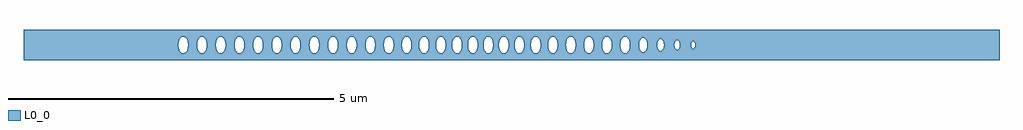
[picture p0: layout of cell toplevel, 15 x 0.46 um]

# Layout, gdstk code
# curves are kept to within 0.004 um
import gdstk
lib = gdstk.Library(unit=1e-6, precision=1e-09)
def P(c, l, *ps):  # polygons
    for p in ps: c.add(gdstk.Polygon(p, *l))
L0_0 = (0, 0)

toplevel = lib.new_cell('toplevel')
P(toplevel, L0_0, [(-4.442,-0.231),(-4.442,-0.121),(-4.46,-0.129),(-4.479,-0.129),(-4.513,-0.106),(-4.532,-0.07),(-4.543,-0.016),(-4.54,0.04),(-4.517,0.101),(-4.483,0.128),(-4.465,0.13),(-4.442,0.121),(-4.442,0.231),(-7.5,0.231),(-7.5,-0.008),(-5.119,-0.008),(-5.114,0.048),(-5.096,0.095),(-5.068,0.124),(-5.049,0.13),(-5.022,0.124),(-4.994,0.095),(-4.974,0.04),(-4.971,-0.016),(-4.831,-0.016),(-4.828,0.04),(-4.817,0.077),(-4.789,0.118),(-4.762,0.13),(-4.734,0.124),(-4.706,0.095),(-4.69,0.056),(-4.683,0.008),(-4.685,-0.032),(-4.697,-0.077),(-4.721,-0.114),(-4.752,-0.13),(-4.776,-0.126),(-4.801,-0.106),(-4.82,-0.07),(-4.831,-0.016),(-4.971,-0.016),(-4.982,-0.07),(-5.001,-0.106),(-5.022,-0.124),(-5.049,-0.13),(-5.068,-0.124),(-5.096,-0.095),(-5.112,-0.056),(-5.119,-0.008),(-7.5,-0.008),(-7.5,-0.231)],
  [(-4.401,-0.048),(-4.415,-0.089),(-4.442,-0.121),(-4.442,-0.231),(-3.592,-0.231),(-3.592,-0.128),(-3.625,-0.126),(-3.654,-0.101),(-3.669,-0.07),(-3.68,-0.016),(-3.677,0.04),(-3.654,0.101),(-3.625,0.126),(-3.592,0.128),(-3.592,0.231),(-4.442,0.231),(-4.442,0.121),(-4.409,0.077),(-4.395,-0.008),(-4.256,-0.008),(-4.251,0.048),(-4.236,0.089),(-4.213,0.118),(-4.186,0.13),(-4.159,0.124),(-4.134,0.101),(-4.111,0.04),(-4.108,-0.016),(-3.968,-0.016),(-3.966,0.032),(-3.954,0.077),(-3.926,0.118),(-3.899,0.13),(-3.871,0.124),(-3.85,0.106),(-3.831,0.07),(-3.822,0.032),(-3.82,-0.016),(-3.831,-0.07),(-3.85,-0.106),(-3.871,-0.124),(-3.889,-0.13),(-3.917,-0.124),(-3.938,-0.106),(-3.957,-0.07),(-3.968,-0.016),(-4.108,-0.016),(-4.119,-0.07),(-4.134,-0.101),(-4.154,-0.121),(-4.177,-0.13),(-4.205,-0.124),(-4.229,-0.101),(-4.247,-0.063),(-4.256,-0.008),(-4.395,-0.008)],
  [(-3.539,-0.056),(-3.559,-0.101),(-3.592,-0.128),(-3.592,-0.231),(-2.762,-0.231),(-2.762,-0.126),(-2.794,-0.095),(-2.806,-0.07),(-2.817,-0.016),(-2.814,0.04),(-2.806,0.07),(-2.787,0.106),(-2.762,0.126),(-2.762,0.231),(-3.592,0.231),(-3.592,0.128),(-3.563,0.106),(-3.546,0.077),(-3.537,0.048),(-3.532,-0.008),(-3.393,-0.008),(-3.386,0.056),(-3.373,0.089),(-3.35,0.118),(-3.323,0.13),(-3.296,0.124),(-3.271,0.101),(-3.248,0.04),(-3.245,-0.008),(-3.105,-0.008),(-3.103,0.032),(-3.091,0.077),(-3.067,0.114),(-3.036,0.13),(-3.012,0.126),(-2.987,0.106),(-2.96,0.04),(-2.957,-0.016),(-2.968,-0.07),(-2.987,-0.106),(-3.008,-0.124),(-3.026,-0.13),(-3.054,-0.124),(-3.082,-0.095),(-3.098,-0.056),(-3.105,-0.008),(-3.245,-0.008),(-3.252,-0.056),(-3.271,-0.101),(-3.291,-0.121),(-3.314,-0.13),(-3.342,-0.124),(-3.366,-0.101),(-3.384,-0.063),(-3.393,-0.008),(-3.532,-0.008)],
  [(-2.752,0.129),(-2.72,0.124),(-2.692,0.095),(-2.674,0.048),(-2.669,0),(-2.53,0),(-2.523,0.056),(-2.503,0.101),(-2.474,0.126),(-2.442,0.128),(-2.412,0.106),(-2.398,0.083),(-2.388,0.056),(-2.381,0),(-2.388,-0.056),(-2.401,-0.089),(-2.424,-0.118),(-2.451,-0.13),(-2.478,-0.124),(-2.503,-0.101),(-2.523,-0.056),(-2.53,0),(-2.669,0),(-2.676,-0.056),(-2.696,-0.101),(-2.729,-0.128),(-2.762,-0.126),(-2.762,-0.231),(-2.122,-0.231),(-2.122,-0.101),(-2.137,-0.118),(-2.164,-0.13),(-2.183,-0.128),(-2.2,-0.118),(-2.229,-0.077),(-2.243,-0.008),(-2.234,0.063),(-2.205,0.114),(-2.183,0.128),(-2.164,0.13),(-2.137,0.118),(-2.122,0.101),(-2.122,0.231),(-2.762,0.231),(-2.762,0.126)],
  [(-2.102,-0.056),(-2.122,-0.101),(-2.122,-0.231),(-1.348,-0.231),(-1.348,-0.13),(-1.371,-0.121),(-1.391,-0.101),(-1.406,-0.07),(-1.417,-0.016),(-1.414,0.04),(-1.403,0.077),(-1.375,0.118),(-1.348,0.13),(-1.348,0.231),(-2.122,0.231),(-2.122,0.101),(-2.098,0.04),(-2.095,-0.016),(-1.96,-0.016),(-1.957,0.04),(-1.946,0.077),(-1.918,0.118),(-1.891,0.13),(-1.863,0.124),(-1.835,0.095),(-1.817,0.048),(-1.812,0),(-1.685,0),(-1.681,0.04),(-1.668,0.083),(-1.642,0.118),(-1.615,0.13),(-1.588,0.124),(-1.563,0.101),(-1.543,0.056),(-1.537,0.016),(-1.54,-0.04),(-1.553,-0.083),(-1.579,-0.118),(-1.606,-0.13),(-1.633,-0.124),(-1.658,-0.101),(-1.677,-0.056),(-1.685,0),(-1.812,0),(-1.817,-0.048),(-1.835,-0.095),(-1.863,-0.124),(-1.882,-0.13),(-1.905,-0.126),(-1.93,-0.106),(-1.949,-0.07),(-1.96,-0.016),(-2.095,-0.016)],
  [(-1.274,-0.048),(-1.3,-0.106),(-1.32,-0.124),(-1.348,-0.13),(-1.348,-0.231),(-0.645,-0.231),(-0.645,-0.095),(-0.657,-0.07),(-0.668,-0.016),(-0.665,0.04),(-0.645,0.095),(-0.645,0.231),(-1.348,0.231),(-1.348,0.13),(-1.32,0.124),(-1.296,0.101),(-1.276,0.056),(-1.269,0),(-1.16,0),(-1.153,0.056),(-1.14,0.089),(-1.117,0.118),(-1.09,0.13),(-1.054,0.118),(-1.028,0.083),(-1.015,0.04),(-1.012,-0.016),(-0.91,-0.016),(-0.907,0.04),(-0.899,0.07),(-0.88,0.106),(-0.85,0.128),(-0.822,0.128),(-0.805,0.118),(-0.782,0.089),(-0.769,0.056),(-0.762,-0.008),(-0.771,-0.063),(-0.789,-0.101),(-0.822,-0.128),(-0.855,-0.126),(-0.884,-0.101),(-0.899,-0.07),(-0.91,-0.016),(-1.012,-0.016),(-1.018,-0.056),(-1.038,-0.101),(-1.058,-0.121),(-1.081,-0.13),(-1.108,-0.124),(-1.133,-0.101),(-1.153,-0.056),(-1.16,0),(-1.269,0)],
  [(-0.638,0.106),(-0.608,0.128),(-0.589,0.13),(-0.571,0.124),(-0.554,0.11),(-0.534,0.077),(-0.522,0.032),(-0.52,-0.008),(-0.43,-0.008),(-0.425,0.048),(-0.407,0.095),(-0.379,0.124),(-0.342,0.128),(-0.312,0.106),(-0.293,0.07),(-0.285,0.04),(-0.282,-0.016),(-0.293,-0.07),(-0.312,-0.106),(-0.333,-0.124),(-0.36,-0.13),(-0.379,-0.124),(-0.407,-0.095),(-0.423,-0.056),(-0.43,-0.008),(-0.52,-0.008),(-0.534,-0.077),(-0.554,-0.11),(-0.571,-0.124),(-0.589,-0.13),(-0.608,-0.128),(-0.626,-0.118),(-0.645,-0.095),(-0.645,-0.231),(-0.052,-0.231),(-0.052,-0.057),(-0.071,-0.101),(-0.087,-0.118),(-0.109,-0.129),(-0.132,-0.128),(-0.15,-0.118),(-0.173,-0.089),(-0.188,-0.048),(-0.193,-0.008),(-0.188,0.048),(-0.179,0.077),(-0.166,0.101),(-0.142,0.124),(-0.114,0.13),(-0.087,0.118),(-0.071,0.101),(-0.052,0.056),(-0.052,0.231),(-0.645,0.231),(-0.645,0.095)],
  [(0.684,-0.231),(0.684,-0.101),(0.651,-0.128),(0.632,-0.13),(0.609,-0.121),(0.589,-0.101),(0.577,-0.077),(0.563,-0.016),(0.566,0.04),(0.574,0.07),(0.589,0.101),(0.605,0.118),(0.627,0.129),(0.651,0.128),(0.684,0.101),(0.684,0.231),(-0.052,0.231),(-0.052,0.056),(-0.045,-0.016),(0.048,-0.016),(0.051,0.04),(0.062,0.077),(0.09,0.118),(0.117,0.13),(0.145,0.124),(0.176,0.089),(0.191,0.048),(0.196,-0.008),(0.298,-0.008),(0.303,0.048),(0.318,0.089),(0.341,0.118),(0.368,0.13),(0.391,0.126),(0.416,0.106),(0.435,0.07),(0.446,0.016),(0.443,-0.041),(0.432,-0.077),(0.404,-0.118),(0.377,-0.13),(0.349,-0.124),(0.325,-0.101),(0.307,-0.063),(0.298,-0.008),(0.196,-0.008),(0.191,-0.048),(0.176,-0.089),(0.153,-0.118),(0.126,-0.13),(0.103,-0.126),(0.078,-0.106),(0.059,-0.07),(0.048,-0.016),(-0.045,-0.016),(-0.052,-0.056),(-0.052,-0.231)],
  [(1.397,0.048),(1.419,0.101),(1.443,0.124),(1.462,0.13),(1.462,0.231),(0.684,0.231),(0.684,0.101),(0.706,0.048),(0.711,-0.008),(0.837,-0.008),(0.839,0.032),(0.851,0.077),(0.875,0.114),(0.906,0.13),(0.934,0.124),(0.962,0.095),(0.982,0.04),(0.985,-0.016),(1.115,-0.016),(1.118,0.04),(1.129,0.077),(1.157,0.118),(1.184,0.13),(1.212,0.124),(1.236,0.101),(1.254,0.063),(1.263,0.008),(1.258,-0.048),(1.243,-0.089),(1.22,-0.118),(1.193,-0.13),(1.166,-0.124),(1.141,-0.101),(1.126,-0.07),(1.115,-0.016),(0.985,-0.016),(0.974,-0.07),(0.955,-0.106),(0.93,-0.126),(0.906,-0.13),(0.88,-0.118),(0.86,-0.095),(0.844,-0.056),(0.837,-0.008),(0.711,-0.008),(0.702,-0.063),(0.684,-0.101),(0.684,-0.231),(1.462,-0.231),(1.462,-0.13),(1.435,-0.118),(1.406,-0.077),(1.392,-0.008)],
  [(2.242,-0.035),(2.238,0.012),(2.243,0.039),(2.243,0.231),(1.462,0.231),(1.462,0.13),(1.489,0.124),(1.514,0.101),(1.537,0.04),(1.54,-0.016),(1.673,-0.016),(1.676,0.04),(1.687,0.077),(1.715,0.118),(1.742,0.13),(1.77,0.124),(1.798,0.095),(1.816,0.048),(1.821,-0.007),(1.961,-0.007),(1.964,0.035),(1.978,0.077),(2.001,0.104),(2.021,0.112),(2.041,0.109),(2.062,0.091),(2.079,0.06),(2.088,0.014),(2.079,-0.06),(2.059,-0.095),(2.041,-0.109),(2.009,-0.109),(1.987,-0.091),(1.967,-0.048),(1.961,-0.007),(1.821,-0.007),(1.814,-0.056),(1.798,-0.095),(1.77,-0.124),(1.751,-0.13),(1.728,-0.126),(1.703,-0.106),(1.684,-0.07),(1.673,-0.016),(1.54,-0.016),(1.529,-0.07),(1.514,-0.101),(1.489,-0.124),(1.462,-0.13),(1.462,-0.231),(2.243,-0.231)],
  [(2.245,0.045),(2.269,0.085),(2.295,0.094),(2.314,0.085),(2.332,0.06),(2.341,0.035),(2.344,-0.005),(2.503,-0.005),(2.515,0.052),(2.533,0.072),(2.551,0.075),(2.569,0.064),(2.581,0.044),(2.588,-0.007),(2.761,-0.007),(2.771,0.042),(2.781,0.053),(2.797,0.057),(2.82,0.034),(2.826,-0.004),(2.816,-0.042),(2.797,-0.057),(2.781,-0.053),(2.771,-0.042),(2.761,-0.007),(2.588,-0.007),(2.577,-0.052),(2.551,-0.075),(2.523,-0.064),(2.511,-0.044),(2.503,-0.005),(2.344,-0.005),(2.341,-0.035),(2.328,-0.068),(2.314,-0.085),(2.295,-0.094),(2.278,-0.091),(2.26,-0.076),(2.243,-0.041),(2.243,-0.231),(7.5,-0.231),(7.5,0.231),(2.243,0.231)])

lib.write_gds('toplevel.gds')
